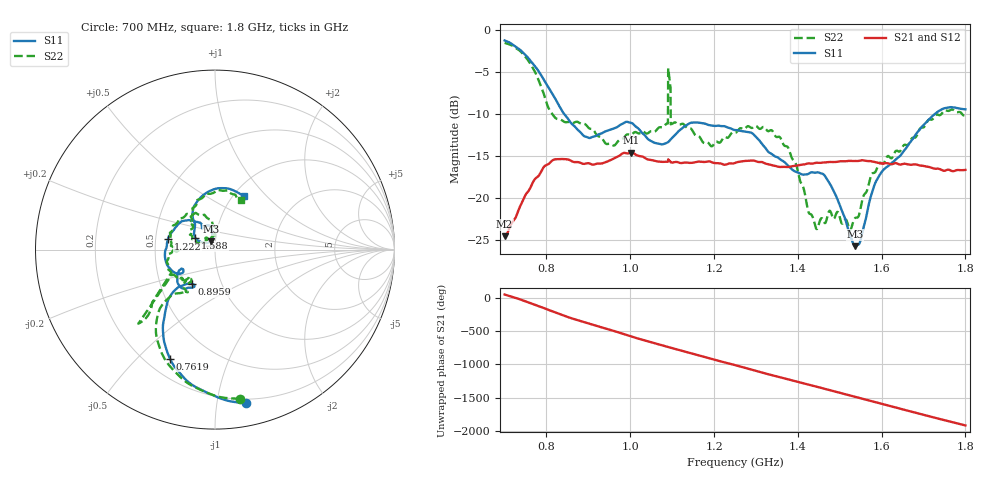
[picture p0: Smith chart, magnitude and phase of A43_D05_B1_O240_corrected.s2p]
! Created with skrf 1.9.0 (http://scikit-rf.org).
# Hz S RI R 50.0
!freq ReS11 ImS11 ReS21 ImS21 ReS12 ImS12 ReS22 ImS22
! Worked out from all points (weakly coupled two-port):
!   1601 points, 700 MHz to 1.8 GHz, reference 50 ohm
!   highest |S21| = -14.60 dB at 1.002 GHz (marker M1); lowest = -24.6 dB at 700 MHz (marker M2)
!   lowest |S11| = -25.8 dB at 1.537 GHz (marker M3), VSWR 1.11, Z = 47.6 + j4.42 ohm
!   |S11| at or under -10 dB: 842.4 MHz to 1.727 GHz (884.3 MHz wide, 68.8 % of centre)
!   |S22| runs from -23.8 to -1.5 dB; largest |S21 - S12| = 0.0035
!   S11 on the Smith chart (normalised r, x): 700 MHz: 0.17, -1.21; 761.9 MHz: 0.29, -0.63; 895.9 MHz: 0.72, -0.29; 1.222 GHz: 0.58, +0.07; 1.588 GHz: 0.80, +0.11; 1.8 GHz: 1.12, +0.75
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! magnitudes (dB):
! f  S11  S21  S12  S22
! 700 MHz  -1.2  -24.6  -24.3  -1.5
! 761.9 MHz  -3.6  -18.7  -18.7  -4.0
! 818.2 MHz  -7.9  -15.4  -15.5  -10.3
! 883.6 MHz  -12.3  -15.9  -15.8  -11.2
! 895.9 MHz  -12.7  -15.9  -16.0  -11.4
! 957.8 MHz  -11.8  -15.4  -15.4  -13.7
! 1.002 GHz  -11.0  -14.6  -14.7  -12.5
! 1.067 GHz  -13.5  -15.7  -15.6  -11.6
! 1.084 GHz  -13.5  -15.7  -15.7  -11.2
! 1.096 GHz  -13.0  -15.7  -15.7  -6.8
! 1.102 GHz  -12.7  -15.8  -15.7  -11.1
! 1.222 GHz  -11.4  -16.0  -16.0  -12.9
! 1.25 GHz  -11.9  -15.8  -15.8  -12.2
! 1.357 GHz  -15.4  -16.3  -16.2  -12.8
! 1.394 GHz  -16.9  -16.2  -16.1  -15.8
! 1.434 GHz  -16.9  -15.9  -15.9  -22.1
! 1.477 GHz  -18.3  -15.7  -15.7  -21.5
! 1.537 GHz  -25.8  -15.6  -15.6  -22.4
! 1.588 GHz  -17.9  -15.8  -15.8  -16.6
! 1.617 GHz  -16.1  -15.9  -15.9  -15.0
! 1.733 GHz  -9.8  -16.5  -16.5  -10.1
! 1.8 GHz  -9.4  -16.7  -16.7  -10.1
